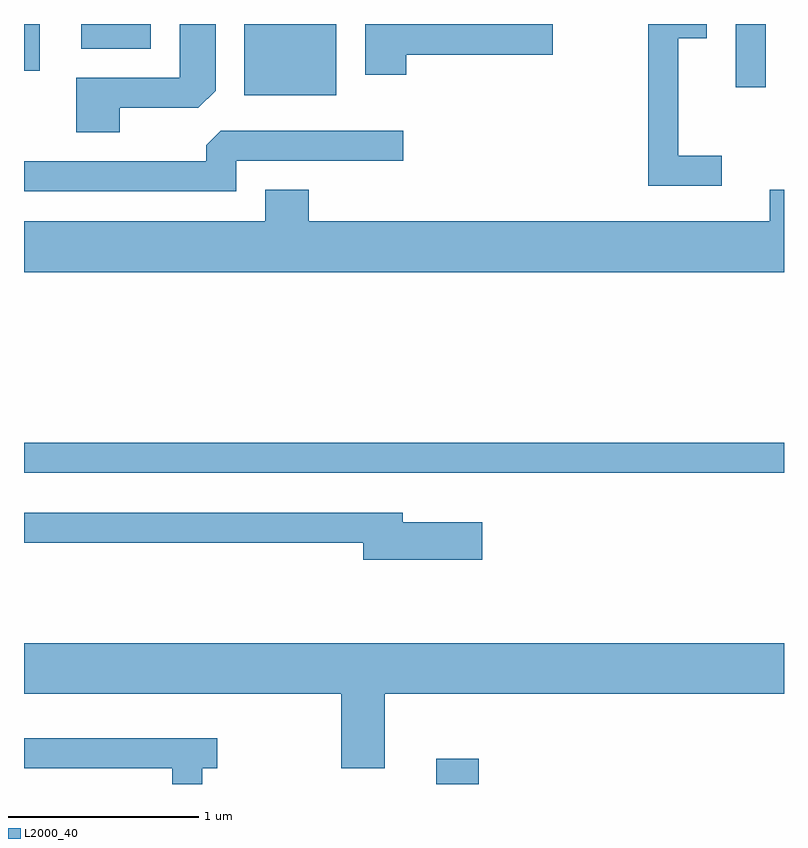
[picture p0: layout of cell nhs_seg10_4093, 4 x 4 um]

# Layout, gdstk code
import gdstk
lib = gdstk.Library(unit=1e-6, precision=1e-09)
def R(c, l, rs):  # rectangles x0, y0, x1, y1
    for r in rs: c.add(gdstk.rectangle(r[:2], r[2:], *l))
def P(c, l, *ps):  # polygons
    for p in ps: c.add(gdstk.Polygon(p, *l))
L2000_40 = (2000, 40)

nhs_seg10_4093 = lib.new_cell('nhs_seg10_4093')
R(nhs_seg10_4093, L2000_40, [(307.781,2144.522,308.004,2144.654), (305.611,2146.161,309.611,2146.319), (306.771,2148.146,307.254,2148.522), (309.356,2148.188,309.514,2148.522), (305.611,2148.276,305.694,2148.522), (305.911,2148.391,306.279,2148.522)])
P(nhs_seg10_4093, L2000_40, [(307.624,2148.361),(308.394,2148.361),(308.394,2148.522),(307.406,2148.522),(307.406,2148.256),(307.624,2148.256)],
  [(306.114,2148.081),(306.529,2148.081),(306.619,2148.172),(306.619,2148.522),(306.431,2148.522),(306.431,2148.239),(305.886,2148.239),(305.886,2147.951),(306.114,2147.951)],
  [(309.283,2147.829),(309.054,2147.829),(309.054,2148.446),(309.204,2148.446),(309.204,2148.522),(308.896,2148.522),(308.896,2147.671),(309.283,2147.671)],
  [(306.729,2147.801),(307.608,2147.801),(307.608,2147.959),(306.647,2147.959),(306.571,2147.884),(306.571,2147.799),(305.611,2147.799),(305.611,2147.641),(306.729,2147.641)],
  [(309.611,2147.649),(309.536,2147.649),(309.536,2147.484),(307.109,2147.484),(307.109,2147.649),(306.881,2147.649),(306.881,2147.484),(305.611,2147.484),(305.611,2147.216),(309.611,2147.216)],
  [(308.024,2145.899),(307.604,2145.899),(307.604,2145.949),(305.611,2145.949),(305.611,2145.791),(307.396,2145.791),(307.396,2145.701),(308.024,2145.701)],
  [(307.509,2144.996),(309.611,2144.996),(309.611,2145.264),(305.611,2145.264),(305.611,2144.996),(307.281,2144.996),(307.281,2144.606),(307.509,2144.606)],
  [(306.549,2144.606),(306.628,2144.606),(306.628,2144.764),(305.611,2144.764),(305.611,2144.606),(306.391,2144.606),(306.391,2144.522),(306.549,2144.522)])

lib.write_gds('nhs_seg10_4093.gds')
